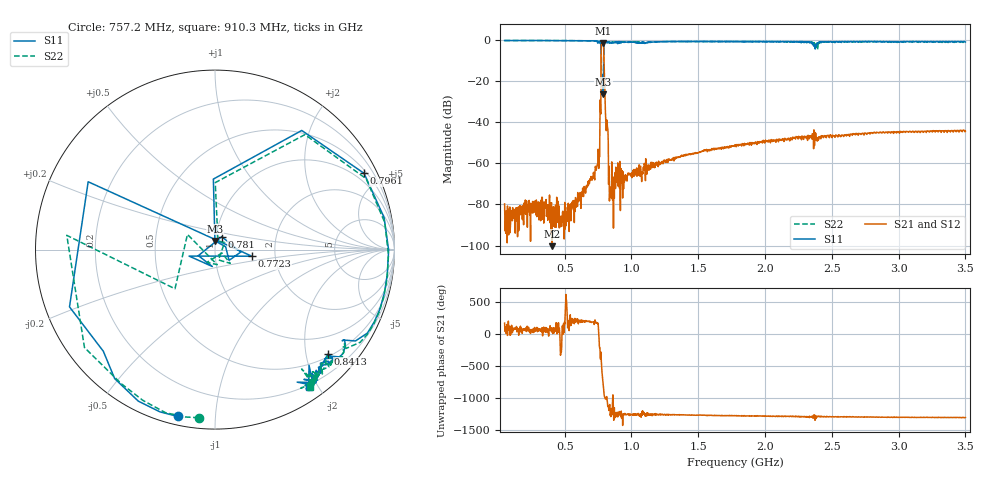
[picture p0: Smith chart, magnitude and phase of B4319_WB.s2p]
! Matrix data file written by TouchstoneData, EPCOS AG
! FILENAME: "B4319_x34y35_WB.snp"
! COMMENT: "(TS/B4319_x34y35_WB.s2p) Epcos AG 12/18/2012"
! INFO: nport=2, nfreq=1601
! DATE: "Wed Jan 16 16:33:09 2013"
! USER: "Wee Chuan Tay"
! port | pin | signal
!  1  |  1  |  Input
!  2  |  4  |  Output
# MHZ S RI R 50
! freq  reS11 imS11  reS21 imS21  reS12 imS12  reS22 imS22
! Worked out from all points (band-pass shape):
!   1601 points, 50 MHz to 3.5 GHz, reference 50 ohm
!   highest |S21| = -1.17 dB at 785.3 MHz (marker M1); lowest = -100.3 dB at 403.6 MHz (marker M2)
!   |S21| within 3 dB of the highest: 773 MHz to 791.9 MHz (18.92 MHz wide, 2.42 % of centre)
!   lowest |S11| = -26.2 dB at 789.6 MHz (marker M3), VSWR 1.10, Z = 49.7 + j4.86 ohm
!   |S11| at or under -10 dB: 771.7 MHz to 791.5 MHz (19.85 MHz wide, 2.54 % of centre)
!   |S22| runs from -27.3 to 0.0 dB; largest |S21 - S12| = 0
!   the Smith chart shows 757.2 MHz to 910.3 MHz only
!   S11 on the Smith chart (normalised r, x): 757.2 MHz: 0.04, -0.80; 772.3 MHz: 1.51, -0.12; 781 MHz: 1.07, +0.15; 796.1 MHz: 0.62, +4.06; 841.3 MHz: 0.56, -2.45; 910.3 MHz: 0.17, -1.88
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50  0.9917 -0.0727  -0.000103 7.97e-06  -0.000103 7.97e-06  0.9941 -0.0711
403.625  0.8289 -0.546  5.68e-06 7.78e-06  5.68e-06 7.78e-06  0.8384 -0.5341
625.7188  0.5795 -0.796  -0.000186 -7.75e-05  -0.000186 -7.75e-05  0.5989 -0.7823
737.8438  0.1366 -0.9632  -0.000747 -3.87e-05  -0.000747 -3.87e-05  0.2051 -0.9525
752.9375  -0.0164 -0.9041  0.000862 0.00153  0.000862 0.00153  0.065 -0.8768
757.25  -0.2069 -0.9298  0.000663 -0.00179  0.000663 -0.00179  -0.0908 -0.9365
772.3438  0.2053 -0.0369  0.5483 0.0662  0.5483 0.0662  -0.223 -0.2184
780.9688  0.0379 0.0719  -0.00478 0.8659  -0.00478 0.8659  0.0388 -0.0191
785.2812  0.0783 -0.0601  0.8725 0.0506  0.8725 0.0506  0.0196 -0.0575
789.5938  -0.00056 0.0488  -0.013 -0.8427  -0.013 -0.8427  0.0165 0.0481
796.0625  0.8305 0.4248  -0.086 0.1395  -0.086 0.1395  0.8426 0.3946
811.1562  0.8492 -0.4651  0.00164 0.0061  0.00164 0.0061  0.8487 -0.4718
821.9375  0.7266 -0.5326  0.00609 -0.00425  0.00609 -0.00425  0.7094 -0.5444
841.3438  0.6294 -0.582  -0.000264 3.89e-05  -0.000264 3.89e-05  0.6229 -0.5939
852.125  0.5878 -0.6323  -0.00109 -2.35e-05  -0.00109 -2.35e-05  0.5909 -0.6347
910.3438  0.5235 -0.7681  -0.000227 -0.000105  -0.000227 -0.000105  0.5306 -0.7683
1201.438  0.2764 -0.8818  -0.00104 -0.000156  -0.00104 -0.000156  0.2767 -0.8888
1775  -0.1362 -0.9288  -0.00278 0.000558  -0.00278 0.000558  -0.1579 -0.9252
2350.719  -0.4857 -0.7361  -0.00333 0.00211  -0.00333 0.00211  -0.4603 -0.7102
2391.688  -0.2411 -0.842  -0.00382 0.00174  -0.00382 0.00174  -0.382 -0.7516
2926.438  -0.5502 -0.7488  -0.00483 0.00322  -0.00483 0.00322  -0.606 -0.6916
3500  -0.6641 -0.6272  -0.00492 0.00358  -0.00492 0.00358  -0.7562 -0.5331
